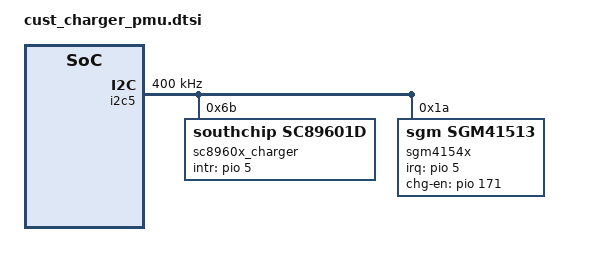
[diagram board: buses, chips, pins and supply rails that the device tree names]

&i2c5 {
	status = "okay";
	clock-frequency = <400000>;
	sc8960x_charger@6B {
	        compatible = "southchip,sc89601d";
        	reg = <0x6B>;
        	sc8960x,intr-gpio = <&pio 5 IRQ_TYPE_EDGE_FALLING>;

        	sc8960x,charger_name = "primary_chg";
        	sc8960x,pfm-dis = <0>; /*0: enable, 1: disable*/
       		sc8960x,vsys-min = <5>; /*0: 2.6V, 1: 2.8V, 2: 3.0V, 
                    	3: 3.2V, 4: 3.4V, 5: 3.5V, 6:3.6V, 7: 3.7V*/
        	sc8960x,vbat-low-otg = <0>; /*0: 2.8V, 1: 2.5V*/
       		sc8960x,ipre-chg = <3>; /*60 + val * 60, unit:mA*/
        	sc8960x,itermination = <3>; /*60 + val * 60, unit:mA*/
        	sc8960x,vbat-volt = <68>; /*3848 + val * 8, unit:mV*/
        	sc8960x,top-off-timer = <0>; /*0: dis, 1: 15min, 2: 20min 3: 45min*/
        	sc8960x,vrechg-volt = <0>; /*0: 100mV, 1: 200mV*/
        	sc8960x,en-termination = <1>; /*0: disable, 1: enable*/
        	sc8960x,wdt-timer = <0>; /*0: disable, 1: 40s, 2: 80s, 3：160s*/
        	sc8960x,en-chg-saft-timer = <1>; /*0: disable, 1: enable*/
        	sc8960x,charge-timer = <1>; /*0: 5hrs, 1: 10hrs*/
        	sc8960x,vac-ovp = <3>; /*0: 5.8V, 1: 6.4V, 2: 11V, 3: 14.2V*/
        	sc8960x,iboost = <1>; /*0: 0.5A, 1: 1.2A*/
        	sc8960x,vboost = <12>; /*3900 + val * 100, unit:mV*/
        	sc8960x,vindpm-track = <0>; /*0: disable, 1:200mV, 2:250mV, 3:300mV*/
        	sc8960x,vindpm-int-mask = <1>; /*0: not mask, 1: mask*/
        	sc8960x,iindpm-int-mask = <1>; /*0: not mask, 1: mask*/
        	sc8960x,vpre-to-cc = <0>; /*0: 3V, 1: 2.8V*/
        	sc8960x,auto-dpdm-en = <0>; /*0: disale, 1: enable*/
        	sc8960x,ntc-pin-dis = <1>; /*0: enable, 1: disable*/
			status = "okay";
    };

	sgm4154x@1A {
	 	compatible = "sgm,sgm41513";  
	 	reg = <0x1A>;
	 	interrupt-parent = <&pio>;
	 	interrupts = <5 0>;              
	        sgm,irq-gpio = <&pio 5 IRQ_TYPE_EDGE_FALLING>;     
	        sgm,chg-en-gpio = <&pio 171 0>;
		status = "okay";	
	};
};
